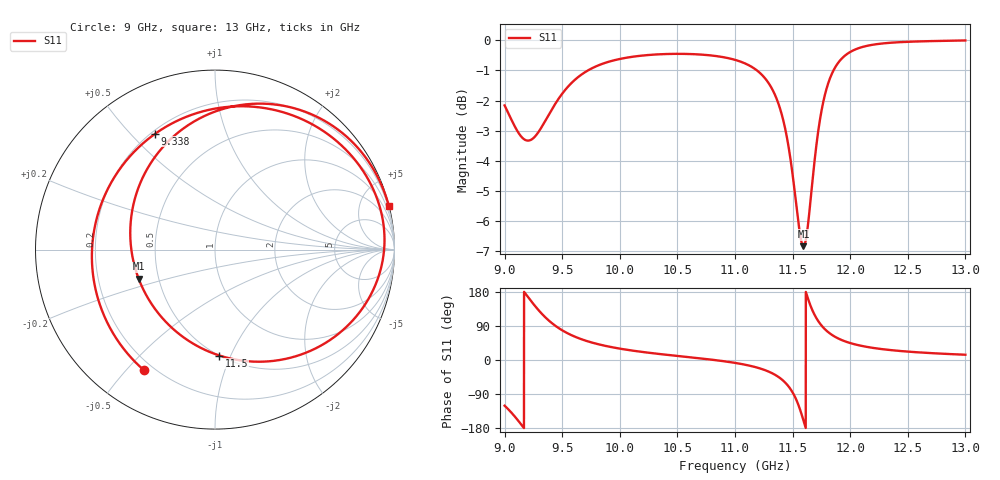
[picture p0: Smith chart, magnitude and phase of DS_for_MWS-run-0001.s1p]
! TOUCHSTONE file generated by CST DESIGN STUDIO
! Date and time: Tue Feb  4 17:35:01 2025
! Project name: C:\Work\MatlabApps\UnitCellOptimizationMatlab\CST\unitcell.cst
! Tree item: Tasks\Sweep1\SPara1\S-Parameters
! Header version: 2024
! Port assignment regex: !\s*Touchstone port\s*([0-9]+)\s*=\s*(CST MWS port|CST DES external port|CST DES block port)\s*(.+)\s* \(\"(.*)\"\)(\s*mode\s*([0-9]+))?.*
! Touchstone port assignment:
! Touchstone port 1 = CST DES external port 1 ("")
# GHz S MA R 50
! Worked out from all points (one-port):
!   4001 points, 9 GHz to 13 GHz, reference 50 ohm
!   lowest |S11| = -6.8 dB at 11.59 GHz (marker M1), VSWR 2.67, Z = 19.3 - j7.9 ohm
!   |S11| at or under -10 dB: nowhere
!   S11 on the Smith chart (normalised r, x): 9 GHz: 0.16, -0.56; 9.338 GHz: 0.22, +0.59; 11.5 GHz: 0.50, -0.91; 13 GHz: 0.03, +8.20
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9  0.7795 -120.6
9.097  0.7144 -152.2
9.169  0.685 179.9
9.244  0.6865 150.1
9.338  0.7266 117.3
9.413  0.7695 96.7
9.5  0.8153 78.4
9.715  0.8891 49.9
10  0.9309 30.0
10.5  0.9494 10.7
11  0.9278 -7.6
11.187  0.8921 -19.6
11.316  0.8342 -33.9
11.413  0.7443 -53.1
11.5  0.5988 -85.5
11.504  0.5906 -87.6
11.549  0.5007 -117.4
11.594  0.4553 -159.1
11.625  0.4796 169.9
11.657  0.5454 142.1
11.703  0.6613 112.3
11.749  0.7602 91.8
11.798  0.8352 76.3
11.863  0.8971 62.2
12  0.9561 44.7
12.195  0.9829 32.1
12.5  0.9941 22.1
13  0.9992 13.9
